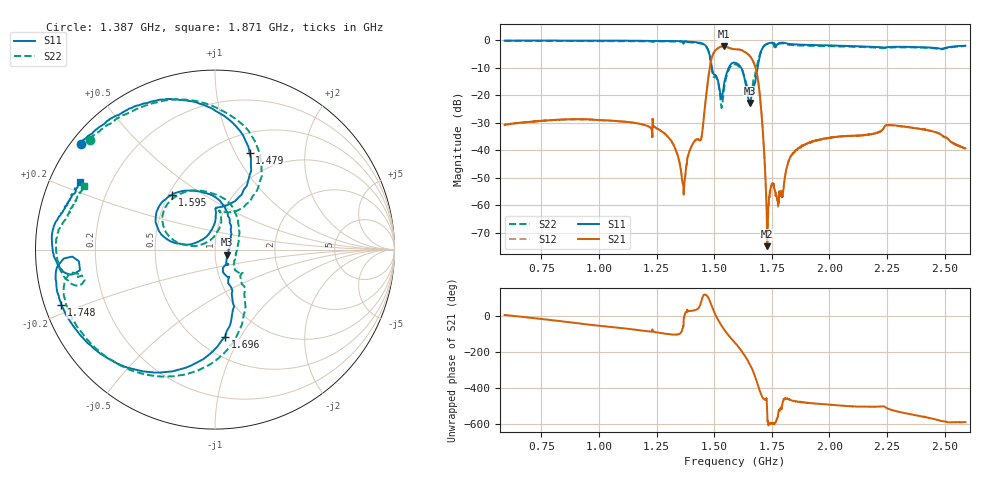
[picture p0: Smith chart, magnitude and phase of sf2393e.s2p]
# Hz S RI R 50
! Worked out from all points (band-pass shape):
!   1601 points, 590 MHz to 2.59 GHz, reference 50 ohm
!   highest |S21| = -2.15 dB at 1.541 GHz (marker M1); lowest = -74.9 dB at 1.73 GHz (marker M2)
!   |S21| within 3 dB of the highest: 1.494 GHz to 1.649 GHz (155 MHz wide, 9.86 % of centre)
!   lowest |S11| = -22.7 dB at 1.655 GHz (marker M3), VSWR 1.16, Z = 57.1 - j3.31 ohm
!   |S11| at or under -10 dB: 1.49 GHz to 1.562 GHz (72.12 MHz wide, 4.72 % of centre); 1.617 GHz to 1.688 GHz (70.61 MHz wide, 4.27 % of centre)
!   |S22| runs from -24.6 to -0.1 dB; largest |S21 - S12| = 0.0028
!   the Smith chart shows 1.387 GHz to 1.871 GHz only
!   S11 on the Smith chart (normalised r, x): 1.387 GHz: 0.03, +0.35; 1.479 GHz: 0.71, +1.15; 1.595 GHz: 0.52, +0.38; 1.696 GHz: 0.68, -0.86; 1.748 GHz: 0.05, -0.17; 1.871 GHz: 0.09, +0.23
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5.9e8  0.1028 -0.9867  0.0287 0.00332  0.0288 0.00339  0.1281 -0.9802
9.2375e8  -0.6639 -0.7384  0.0272 -0.0248  0.027 -0.0247  -0.6373 -0.7397
1.2575e9  -0.9739 0.097  -0.000865 -0.0243  -0.000988 -0.0243  -0.9539 0.1056
1.325e9  -0.9147 0.34  -0.00263 -0.0118  -0.00267 -0.0118  -0.8851 0.3599
1.365e9  -0.7878 0.5384  0.00136 -0.00193  0.00142 -0.00189  -0.7502 0.5603
1.3875e9  -0.7456 0.5893  0.0073 0.00381  0.00721 0.00372  -0.6976 0.613
1.4425e9  -0.3699 0.8193  0.00342 0.0155  0.00348 0.0155  -0.2902 0.8287
1.47875e9  0.1929 0.5407  -0.00631 0.2868  -0.00648 0.2864  0.2585 0.478
1.51e9  0.00294 0.2189  0.6902 -0.0636  0.6896 -0.0629  0.0302 0.2076
1.54125e9  -0.1461 0.0281  0.2429 -0.7419  0.2428 -0.7408  -0.1195 0.0193
1.59e9  -0.2702 0.2849  -0.5859 -0.3672  -0.5859 -0.367  -0.2193 0.2949
1.595e9  -0.239 0.3061  -0.6257 -0.2875  -0.6258 -0.2877  -0.1836 0.3142
1.6225e9  0.0137 0.283  -0.6055 0.2527  -0.6039 0.2515  0.0706 0.2677
1.655e9  0.067 -0.0288  -0.00208 0.5196  -0.00183 0.52  0.1167 -0.0201
1.69625e9  0.0569 -0.4852  0.0709 -0.0936  0.0709 -0.0937  0.0924 -0.5277
1.73e9  -0.6913 -0.5345  -0.000179 1.34e-05  -0.000167 0.000142  -0.6468 -0.5639
1.7475e9  -0.8559 -0.3084  -0.00115 0.00183  -0.00103 0.00194  -0.8179 -0.3342
1.78625e9  -0.9031 -0.0139  -0.00147 -0.000577  -0.00137 -0.000569  -0.8797 -0.0464
1.87125e9  -0.7523 0.3756  -0.00556 -0.0101  -0.00553 -0.0101  -0.7304 0.353
1.92375e9  -0.6683 0.4851  -0.00853 -0.0115  -0.00846 -0.0115  -0.644 0.4719
2.2575e9  -0.1701 0.7382  -0.0266 -0.0104  -0.0268 -0.0105  -0.1492 0.7266
2.59e9  0.2473 0.7664  -0.00674 0.00858  -0.00679 0.0085  0.2537 0.7504
